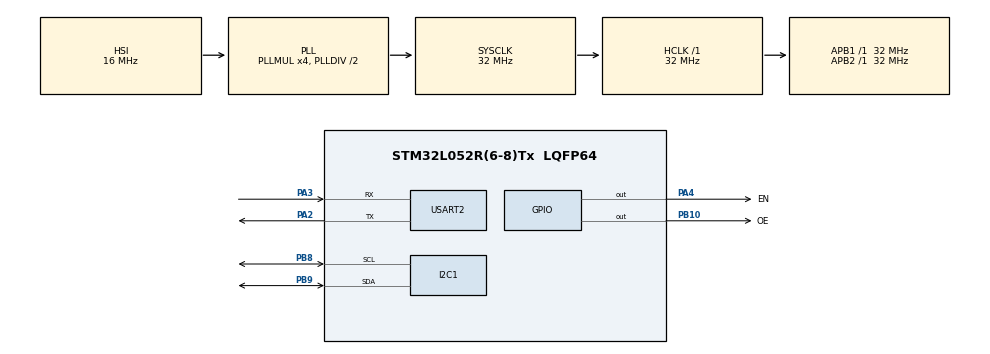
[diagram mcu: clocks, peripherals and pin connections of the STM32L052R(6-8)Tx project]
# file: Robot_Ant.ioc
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I2C1.Timing=0x00707CBB
Mcu.Family=STM32L0
Mcu.Name=STM32L052R(6-8)Tx
Mcu.Package=LQFP64
NVIC.TIM6_DAC_IRQn=true\:0\:0\:false\:false\:true\:true\:true\:true
NVIC.USART2_IRQn=true\:0\:0\:false\:false\:true\:true\:true\:true
PA2.Mode=Asynchronous
PA2.Signal=USART2_TX
PA3.Mode=Asynchronous
PA3.Signal=USART2_RX
PA4.GPIO_Label=EN
PA4.Signal=GPIO_Output
PB10.GPIO_Label=OE
PB10.Signal=GPIO_Output
PB8.GPIO_Pu=GPIO_PULLUP
PB8.Mode=I2C
PB8.Signal=I2C1_SCL
PB9.GPIO_Pu=GPIO_PULLUP
PB9.Mode=I2C
PB9.Signal=I2C1_SDA
ProjectManager.HeapSize=0x200
ProjectManager.StackSize=0x400
ProjectManager.TargetToolchain=MDK-ARM V5
RCC.AHBFreq_Value=32000000
RCC.APB1Freq_Value=32000000
RCC.APB1TimFreq_Value=32000000
RCC.APB2Freq_Value=32000000
RCC.APB2TimFreq_Value=32000000
RCC.HCLKFreq_Value=32000000
RCC.HSE_VALUE=8000000
RCC.HSI16_VALUE=16000000
RCC.HSI48_VALUE=48000000
RCC.HSI_VALUE=16000000
RCC.LSE_VALUE=32768
RCC.MSI_VALUE=2097000
RCC.PLLMUL=RCC_PLLMUL_4
RCC.SYSCLKFreq_VALUE=32000000
RCC.SYSCLKSource=RCC_SYSCLKSOURCE_PLLCLK
RCC.VCOOutputFreq_Value=64000000
TIM6.Period=99
TIM6.Prescaler=3200
USART2.VirtualMode-Asynchronous=VM_ASYNC
VP_TIM6_VS_ClockSourceINT.Mode=Enable_Timer
board=custom

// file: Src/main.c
/* USER CODE BEGIN Header */
/**
  ******************************************************************************
  * @file           : main.c
  * @brief          : Main program body
  ******************************************************************************
  * @attention
  *
  * Copyright (c) 2022 STMicroelectronics.
  * All rights reserved.
  *
  * This software is licensed under terms that can be found in the LICENSE file
  * in the root directory of this software component.
  * If no LICENSE file comes with this software, it is provided AS-IS.
  *
  ******************************************************************************
  */
/* USER CODE END Header */
#include "main.h"

/* USER CODE BEGIN Includes */

#include "string.h"
#include "PCA9685.h"

/* USER CODE END Includes */

I2C_HandleTypeDef hi2c1;

TIM_HandleTypeDef htim6;

UART_HandleTypeDef huart2;

/* USER CODE BEGIN PV */
/* Private variables ---------------------------------------------------------*/

/* USER CODE END PV */

void SystemClock_Config(void);
static void MX_GPIO_Init(void);
static void MX_TIM6_Init(void);
static void MX_USART2_UART_Init(void);
static void MX_I2C1_Init(void);
/* USER CODE BEGIN PFP */
/* Private function prototypes -----------------------------------------------*/

/* USER CODE END PFP */

/* USER CODE BEGIN 0 */

uint8_t str1[7], command = 'S',speed = 0, clip = 0;
int angle1 = 0, angle2 = 0, angle3 = 0;
int horizontal = 97, vertical = 96, roll = 90;

void Control_Clip(void) {
	horizontal = map((180-angle1), 0, 180, 60, 120) + 6;
	vertical = map((180-angle2), 0, 180, 60, 120) + 6;
	roll = map((180-angle3), 0, 180, 60, 120);

	setAngle(6, horizontal);
	setAngle(7, vertical);
	setAngle(8, roll);
	if(clip == 1)
		setAngle(9, 90);
	else
		setAngle(9, 0);
}

void Move_Forword(void) {
	for(int i=60;i<=120;i+=3) {
		if(command != 'F') break;
		setAngle(1, i);
		setAngle(4, i);
		Control_Clip();
		HAL_Delay((5-speed)+1);
	}

	for(int i=180;i>=0;i-=3) {
		if(command!='F') break;
		setAngle(3,	i);
		setAngle(5,	i);
		setAngle(0,	i);
		setAngle(2,	i);
		Control_Clip();
		HAL_Delay((5-speed));
	}

	for(int i=120;i>=60;i-=3) {
		if(command!='F') break;
		setAngle(1,i);
		setAngle(4,i);
		Control_Clip();
		HAL_Delay((5-speed)+1);
	}

	for(int i=0;i<=180;i+=3) {
		if(command!='F') break;
		setAngle(3,i);
		setAngle(5,i);
		setAngle(0,i);
		setAngle(2,i);
		Control_Clip();
		HAL_Delay((5-speed));
	}
}

void Turn_Right(void) {
	for(int i=60;i<=120;i+=2) {
		if(command!='R') break;
		setAngle(1,i);
		setAngle(4,i);
		Control_Clip();
	}

	for(int i=0;i<=180;i+=2) {
		if(command!='R') break;
		setAngle(3,180-i);
		setAngle(5,180-i);
		setAngle(0,i);
		setAngle(2,i);
		Control_Clip();
	}

	for(int i=120;i>=60;i-=2) {
		if(command!='R') break;
		setAngle(1,i);
		setAngle(4,i);
		Control_Clip();
	}

	for(int i=180;i>=0;i-=2) {
		if(command!='R') break;
		setAngle(3,180-i);
		setAngle(5,180-i);
		setAngle(0,i);
		setAngle(2,i);
		Control_Clip();
	}
}

void Turn_Left(void) {
	for(int i=60;i<=120;i+=2) {
		if(command!='L') break;
		setAngle(1,i);
		setAngle(4,i);
		Control_Clip();
	}

	for(int i=0;i<=180;i+=2) {
		if(command!='L') break;
		setAngle(3,i);
		setAngle(5,i);
		setAngle(0,180-i);
		setAngle(2,180-i);
		Control_Clip();
	}

	for(int i=120;i>=60;i-=2) {
		if(command!='L') break;
		setAngle(1,i);
		setAngle(4,i);
		Control_Clip();
	}

	for(int i=180;i>=0;i-=2) {
		if(command!='L') break;
		setAngle(3,i);
		setAngle(5,i);
		setAngle(0,180-i);
		setAngle(2,180-i);
		Control_Clip();
	}
}

void Reset_Position(void) {
	for(int i=0;i<6;i++)
		setAngle(i,90);
	Control_Clip();
}

void HAL_UART_RxCpltCallback(UART_HandleTypeDef *huart) {
  if(huart->Instance==USART2) {
		if(str1[6]=='E') {
			command = str1[0];
			speed = str1[1];
			angle1 = (int)str1[2];
			angle2 = (int)str1[3];
			angle3 = (int)str1[4];
			clip = str1[5];
		}
		HAL_UART_Receive_IT(&huart2,str1,7); //Enable rx interrupt every time
  }
}

/* USER CODE END 0 */

int main(void)
{

  /* MCU Configuration--------------------------------------------------------*/

  /* Reset of all peripherals, Initializes the Flash interface and the Systick. */
  HAL_Init();

  /* Configure the system clock */
  SystemClock_Config();

  /* Initialize all configured peripherals */
  MX_GPIO_Init();
  MX_TIM6_Init();
  MX_USART2_UART_Init();
  MX_I2C1_Init();
  /* USER CODE BEGIN 2 */

	PWMServo_Init();
	HAL_Delay(10);
	HAL_GPIO_WritePin(OE_GPIO_Port, OE_Pin, GPIO_PIN_RESET);
	HAL_GPIO_WritePin(EN_GPIO_Port, EN_Pin, GPIO_PIN_RESET);
	HAL_Delay(10);
	Reset_Position();
	HAL_Delay(10);
	HAL_UART_Receive_IT(&huart2, str1, 7);

  /* USER CODE END 2 */

  /* Infinite loop */
  /* USER CODE BEGIN WHILE */
  while (1)
  {

		if(command=='F')
			Move_Forword();
		else if(command=='R')
			Turn_Right();
		else if(command=='L')
			Turn_Left();
		else if(command=='S')
			Reset_Position();

    /* USER CODE END WHILE */

  }
}

void SystemClock_Config(void)
{
  RCC_OscInitTypeDef RCC_OscInitStruct = {0};
  RCC_ClkInitTypeDef RCC_ClkInitStruct = {0};
  RCC_PeriphCLKInitTypeDef PeriphClkInit = {0};

  /** Configure the main internal regulator output voltage
  */
  __HAL_PWR_VOLTAGESCALING_CONFIG(PWR_REGULATOR_VOLTAGE_SCALE1);

  /** Initializes the RCC Oscillators according to the specified parameters
  * in the RCC_OscInitTypeDef structure.
  */
  RCC_OscInitStruct.OscillatorType = RCC_OSCILLATORTYPE_HSI;
  RCC_OscInitStruct.HSIState = RCC_HSI_ON;
  RCC_OscInitStruct.HSICalibrationValue = RCC_HSICALIBRATION_DEFAULT;
  RCC_OscInitStruct.PLL.PLLState = RCC_PLL_ON;
  RCC_OscInitStruct.PLL.PLLSource = RCC_PLLSOURCE_HSI;
  RCC_OscInitStruct.PLL.PLLMUL = RCC_PLLMUL_4;
  RCC_OscInitStruct.PLL.PLLDIV = RCC_PLLDIV_2;
  if (HAL_RCC_OscConfig(&RCC_OscInitStruct) != HAL_OK)
  {
    Error_Handler();
  }

  /** Initializes the CPU, AHB and APB buses clocks
  */
  RCC_ClkInitStruct.ClockType = RCC_CLOCKTYPE_HCLK|RCC_CLOCKTYPE_SYSCLK
                              |RCC_CLOCKTYPE_PCLK1|RCC_CLOCKTYPE_PCLK2;
  RCC_ClkInitStruct.SYSCLKSource = RCC_SYSCLKSOURCE_PLLCLK;
  RCC_ClkInitStruct.AHBCLKDivider = RCC_SYSCLK_DIV1;
  RCC_ClkInitStruct.APB1CLKDivider = RCC_HCLK_DIV1;
  RCC_ClkInitStruct.APB2CLKDivider = RCC_HCLK_DIV1;

  if (HAL_RCC_ClockConfig(&RCC_ClkInitStruct, FLASH_LATENCY_1) != HAL_OK)
  {
    Error_Handler();
  }
  PeriphClkInit.PeriphClockSelection = RCC_PERIPHCLK_USART2|RCC_PERIPHCLK_I2C1;
  PeriphClkInit.Usart2ClockSelection = RCC_USART2CLKSOURCE_PCLK1;
  PeriphClkInit.I2c1ClockSelection = RCC_I2C1CLKSOURCE_PCLK1;
  if (HAL_RCCEx_PeriphCLKConfig(&PeriphClkInit) != HAL_OK)
  {
    Error_Handler();
  }
}

static void MX_I2C1_Init(void)
{

  hi2c1.Instance = I2C1;
  hi2c1.Init.Timing = 0x00707CBB;
  hi2c1.Init.OwnAddress1 = 0;
  hi2c1.Init.AddressingMode = I2C_ADDRESSINGMODE_7BIT;
  hi2c1.Init.DualAddressMode = I2C_DUALADDRESS_DISABLE;
  hi2c1.Init.OwnAddress2 = 0;
  hi2c1.Init.OwnAddress2Masks = I2C_OA2_NOMASK;
  hi2c1.Init.GeneralCallMode = I2C_GENERALCALL_DISABLE;
  hi2c1.Init.NoStretchMode = I2C_NOSTRETCH_DISABLE;
  if (HAL_I2C_Init(&hi2c1) != HAL_OK)
  {
    Error_Handler();
  }

  /** Configure Analogue filter
  */
  if (HAL_I2CEx_ConfigAnalogFilter(&hi2c1, I2C_ANALOGFILTER_ENABLE) != HAL_OK)
  {
    Error_Handler();
  }

  /** Configure Digital filter
  */
  if (HAL_I2CEx_ConfigDigitalFilter(&hi2c1, 0) != HAL_OK)
  {
    Error_Handler();
  }

}

static void MX_TIM6_Init(void)
{

  TIM_MasterConfigTypeDef sMasterConfig = {0};

  htim6.Instance = TIM6;
  htim6.Init.Prescaler = 3200;
  htim6.Init.CounterMode = TIM_COUNTERMODE_UP;
  htim6.Init.Period = 99;
  htim6.Init.AutoReloadPreload = TIM_AUTORELOAD_PRELOAD_DISABLE;
  if (HAL_TIM_Base_Init(&htim6) != HAL_OK)
  {
    Error_Handler();
  }
  sMasterConfig.MasterOutputTrigger = TIM_TRGO_RESET;
  sMasterConfig.MasterSlaveMode = TIM_MASTERSLAVEMODE_DISABLE;
  if (HAL_TIMEx_MasterConfigSynchronization(&htim6, &sMasterConfig) != HAL_OK)
  {
    Error_Handler();
  }

}

static void MX_USART2_UART_Init(void)
{

  huart2.Instance = USART2;
  huart2.Init.BaudRate = 115200;
  huart2.Init.WordLength = UART_WORDLENGTH_8B;
  huart2.Init.StopBits = UART_STOPBITS_1;
  huart2.Init.Parity = UART_PARITY_NONE;
  huart2.Init.Mode = UART_MODE_TX_RX;
  huart2.Init.HwFlowCtl = UART_HWCONTROL_NONE;
  huart2.Init.OverSampling = UART_OVERSAMPLING_16;
  huart2.Init.OneBitSampling = UART_ONE_BIT_SAMPLE_DISABLE;
  huart2.AdvancedInit.AdvFeatureInit = UART_ADVFEATURE_NO_INIT;
  if (HAL_UART_Init(&huart2) != HAL_OK)
  {
    Error_Handler();
  }

}

static void MX_GPIO_Init(void)
{
  GPIO_InitTypeDef GPIO_InitStruct = {0};

  /* GPIO Ports Clock Enable */
  __HAL_RCC_GPIOA_CLK_ENABLE();
  __HAL_RCC_GPIOB_CLK_ENABLE();

  /*Configure GPIO pin Output Level */
  HAL_GPIO_WritePin(EN_GPIO_Port, EN_Pin, GPIO_PIN_RESET);

  /*Configure GPIO pin Output Level */
  HAL_GPIO_WritePin(OE_GPIO_Port, OE_Pin, GPIO_PIN_RESET);

  /*Configure GPIO pin : EN_Pin */
  GPIO_InitStruct.Pin = EN_Pin;
  GPIO_InitStruct.Mode = GPIO_MODE_OUTPUT_PP;
  GPIO_InitStruct.Pull = GPIO_NOPULL;
  GPIO_InitStruct.Speed = GPIO_SPEED_FREQ_LOW;
  HAL_GPIO_Init(EN_GPIO_Port, &GPIO_InitStruct);

  /*Configure GPIO pin : OE_Pin */
  GPIO_InitStruct.Pin = OE_Pin;
  GPIO_InitStruct.Mode = GPIO_MODE_OUTPUT_PP;
  GPIO_InitStruct.Pull = GPIO_NOPULL;
  GPIO_InitStruct.Speed = GPIO_SPEED_FREQ_LOW;
  HAL_GPIO_Init(OE_GPIO_Port, &GPIO_InitStruct);

}

void Error_Handler(void)
{
  while(1)
  {
  }
}
